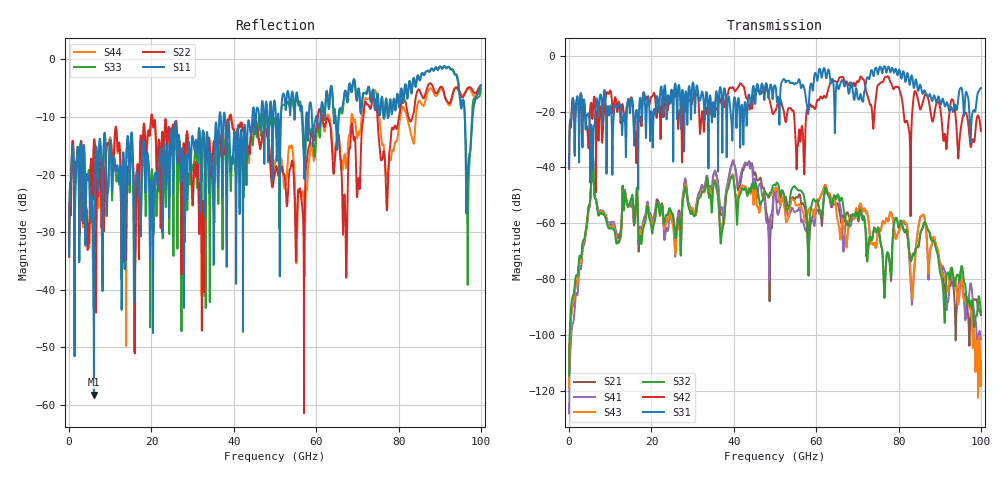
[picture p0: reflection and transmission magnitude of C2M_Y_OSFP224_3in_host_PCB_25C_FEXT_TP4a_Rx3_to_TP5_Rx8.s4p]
# GHz S RI R 45
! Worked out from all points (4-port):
!   4000 points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, 25 MHz to 100 GHz, reference 45 ohm
!   strongest paths, dB at 25 MHz, 25.02 GHz, 50.02 GHz, 75.03 GHz, 100 GHz:
!     S31: -40.1, -12.9, -10.6, -6.6, -11.6
!     S42: -40.5, -13.6, -19.8, -10.4, -26.9
!     S32: -114.6, -56.4, -46.4, -61.5, -91.9
!     S43: -118.5, -59.2, -48.3, -62.3, -109.2
!     S41: -128.1, -58.9, -47.7, -62.2, -101.7
!     S21: -118.7, -56.4, -47.4, -61.5, -92.9
!   lowest |S11| = -58.2 dB at 6.05 GHz (marker M1), VSWR 1.00, Z = 44.9 + j0.0964 ohm
!   |S11| at or under -10 dB: start of sweep to 36.5 GHz; 37.88 GHz to 44.5 GHz (6.618 GHz wide, 16.1 % of centre); 96.08 GHz to 98 GHz (1.926 GHz wide, 1.98 % of centre)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
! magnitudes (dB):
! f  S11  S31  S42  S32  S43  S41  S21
! 25 MHz  -34.0  -40.1  -40.5  -114.6  -118.5  -128.1  -118.7
! 6.05 GHz  -58.2  -24.9  -14.8  -46.0  -45.7  -45.5  -45.9
! 25.75 GHz  -10.8  -10.0  -14.1  -64.6  -70.3  -71.2  -65.3
! 44 GHz  -12.6  -16.0  -18.0  -48.8  -49.5  -40.4  -39.3
! 48.83 GHz  -7.7  -10.7  -16.6  -49.1  -49.7  -58.4  -66.4
! 62.52 GHz  -5.4  -7.8  -14.6  -48.3  -47.5  -47.5  -48.7
! 100 GHz  -4.5  -11.6  -26.9  -91.9  -109.2  -101.7  -92.9
